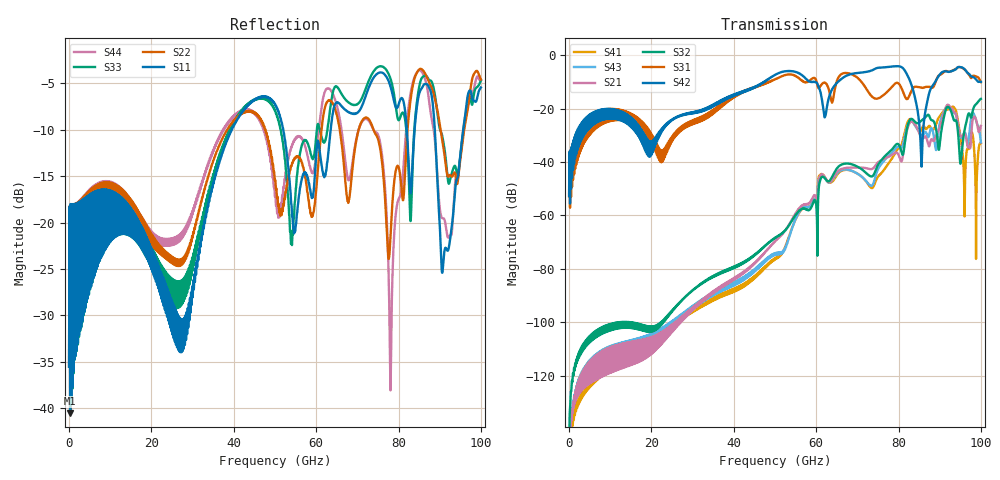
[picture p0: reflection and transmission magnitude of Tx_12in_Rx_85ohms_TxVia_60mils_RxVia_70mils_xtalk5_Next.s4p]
! Info: Touchstone file created by Circ.  Input file=Tx_12in_Rx_85ohms_TxVia_60mils_RxVia_70mils.circ
# Hz S RI R 50
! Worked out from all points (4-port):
!   10000 points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, 10 MHz to 100 GHz, reference 50 ohm
!   strongest paths, dB at 10 MHz, 25.01 GHz, 50.01 GHz, 75.01 GHz, 100 GHz:
!     S42: -52.7, -24.0, -7.4, -4.7, -10.0
!     S31: -52.8, -30.5, -9.1, -16.2, -10.1
!     S32: -156.7, -95.7, -68.4, -41.1, -16.4
!     S21: -167.5, -102.3, -69.7, -40.1, -26.5
!     S43: -158.0, -101.3, -74.3, -42.7, -32.7
!     S41: -158.3, -101.0, -76.3, -45.5, -33.0
!   lowest |S11| = -40.5 dB at 260 MHz (marker M1), VSWR 1.02, Z = 49.3 + j0.563 ohm
!   |S11| at or under -10 dB: start of sweep to 39.53 GHz; 51.99 GHz to 63.53 GHz (11.54 GHz wide, 20 % of centre); 88.81 GHz to 95.73 GHz (6.922 GHz wide, 7.5 % of centre)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
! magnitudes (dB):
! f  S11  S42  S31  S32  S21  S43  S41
! 10 MHz  -35.5  -52.7  -52.8  -156.7  -167.5  -158.0  -158.3
! 260 MHz  -40.5  -44.4  -44.4  -131.7  -142.2  -142.2  -146.0
! 39.91 GHz  -9.6  -15.3  -16.0  -79.2  -83.6  -85.1  -87.6
! 72.83 GHz  -5.4  -6.1  -14.1  -45.0  -42.6  -48.4  -48.8
! 78.07 GHz  -5.4  -4.3  -12.4  -35.9  -37.7  -37.0  -39.5
! 85.57 GHz  -5.6  -41.6  -12.2  -24.4  -31.2  -30.1  -27.8
! 100 GHz  -5.5  -10.0  -10.1  -16.4  -26.5  -32.7  -33.0
